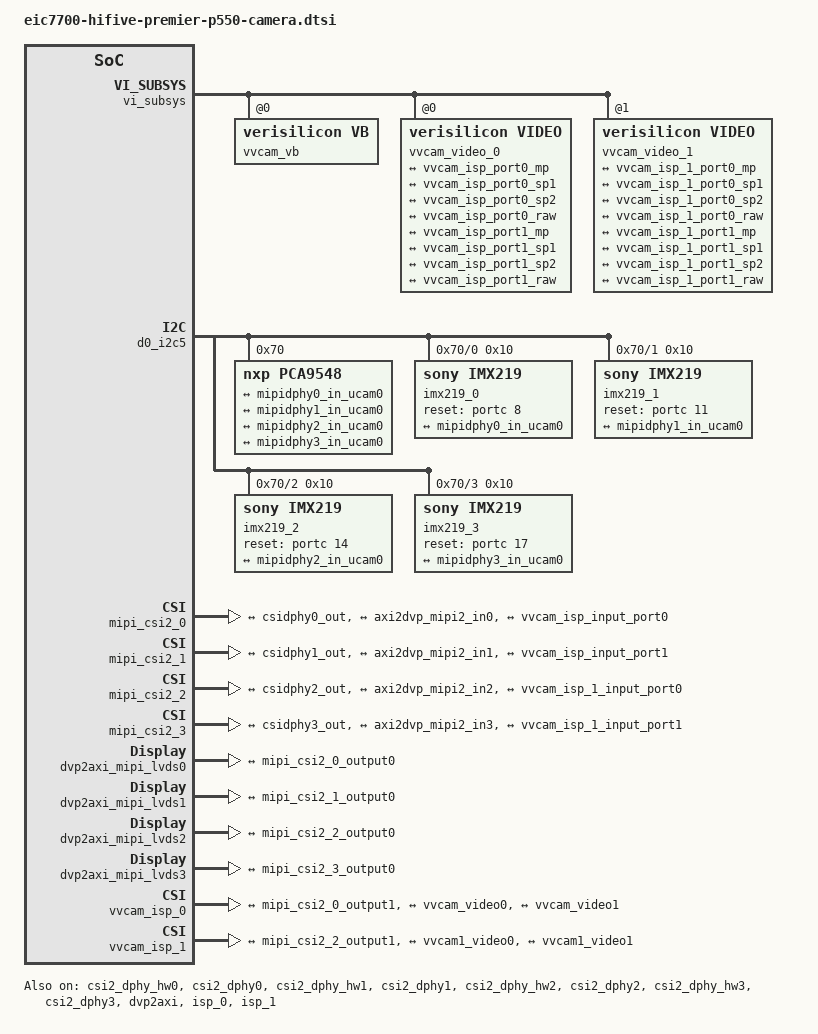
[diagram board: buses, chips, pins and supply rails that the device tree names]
&vi_subsys {
	eswin,isp_dvp0_hor = <3280>;
	eswin,isp_dvp0_ver = <2464>;
	phy_mode = <5>; //5: 6x2lanes, 2: 3x4lanes
	isp_connect_mode = <2>;

	vvcam_vb: vvcam_vb@0 {
		compatible = "verisilicon,vb";
		status = "okay";
		#size-cells = <2>;
		dma-noncoherent;
		dma-ranges = <0x0 0x20000000 0x0 0x80000000 0x0 0x40000000>;
		iommus = <&smmu0 WIN2030_SID_ISP0>;
	};

    vvcam_video_0: vvcam_video@0 {
        compatible = "verisilicon,video";
        id = <0>;
        status = "okay";
		#size-cells = <2>;
		dma-noncoherent;
		dma-ranges = <0x0 0x20000000 0x0 0x80000000 0x0 0x40000000>;
		iommus = <&smmu0 WIN2030_SID_ISP0>;

        ports {
            #address-cells = <1>;
            #size-cells = <0>;

            port@0 {
                reg = <0>;
                vvcam_video0: endpoint {
                    remote-endpoint = <&vvcam_isp_port0_mp>;
                };
            };

            port@1 {
                reg = <1>;
                vvcam_video1: endpoint {
                    remote-endpoint = <&vvcam_isp_port0_sp1>;
                };
            };

            port@2 {
                reg = <2>;
                vvcam_video2: endpoint {
                    remote-endpoint = <&vvcam_isp_port0_sp2>;
                };
            };

            port@3 {
                reg = <3>;
                vvcam_video3: endpoint {
                    remote-endpoint = <&vvcam_isp_port0_raw>;
                };
            };
			port@4 {
				#address-cells = <1>;
				#size-cells = <0>;
				reg = <4>;
				vvcam_video4: endpoint@0 {
					reg = <0>;
					remote-endpoint = <&vvcam_isp_port1_mp>;
				};
			};

			port@5 {
				#address-cells = <1>;
				#size-cells = <0>;
				reg = <5>;
				vvcam_video5: endpoint@0 {
					reg = <0>;
					remote-endpoint = <&vvcam_isp_port1_sp1>;
				};
			};

			port@6 {
				#address-cells = <1>;
				#size-cells = <0>;
				reg = <6>;
				vvcam_video6: endpoint@0 {
					reg = <0>;
					remote-endpoint = <&vvcam_isp_port1_sp2>;
				};
			};

			port@7 {
				#address-cells = <1>;
				#size-cells = <0>;
				reg = <7>;
				vvcam_video7: endpoint@0 {
					reg = <0>;
					remote-endpoint = <&vvcam_isp_port1_raw>;
				};
			};
        };
    };

	vvcam_video_1: vvcam_video@1 {
		compatible = "verisilicon,video";
		id = <1>;
		status = "okay";
		#size-cells = <2>;
		dma-noncoherent;
		dma-ranges = <0x0 0x20000000 0x0 0x80000000 0x0 0x40000000>;
		iommus = <&smmu0 WIN2030_SID_ISP1>;
		ports {
			#address-cells = <1>;
			#size-cells = <0>;

			port@0 {
				#address-cells = <1>;
				#size-cells = <0>;
				reg = <0>;
				vvcam1_video0: endpoint@0 {
					reg = <0>;
					remote-endpoint = <&vvcam_isp_1_port0_mp>;
				};
			};

			port@1 {
				#address-cells = <1>;
				#size-cells = <0>;
				reg = <1>;
				vvcam1_video1: endpoint@0 {
					reg = <0>;
					remote-endpoint = <&vvcam_isp_1_port0_sp1>;
				};
			};

			port@2 {
				#address-cells = <1>;
				#size-cells = <0>;
				reg = <2>;
				vvcam1_video2: endpoint@0 {
					reg = <0>;
					remote-endpoint = <&vvcam_isp_1_port0_sp2>;
				};
			};

			port@3 {
				#address-cells = <1>;
				#size-cells = <0>;
				reg = <3>;
				vvcam1_video3: endpoint@0 {
					reg = <0>;
					remote-endpoint = <&vvcam_isp_1_port0_raw>;
				};
			};
			port@4 {
				#address-cells = <1>;
				#size-cells = <0>;
				reg = <4>;
				vvcam1_video4: endpoint@0 {
					reg = <0>;
					remote-endpoint = <&vvcam_isp_1_port1_mp>;
				};
			};

			port@5 {
				#address-cells = <1>;
				#size-cells = <0>;
				reg = <5>;
				vvcam1_video5: endpoint@0 {
					reg = <0>;
					remote-endpoint = <&vvcam_isp_1_port1_sp1>;
				};
			};

			port@6 {
				#address-cells = <1>;
				#size-cells = <0>;
				reg = <6>;
				vvcam1_video6: endpoint@0 {
					reg = <0>;
					remote-endpoint = <&vvcam_isp_1_port1_sp2>;
				};
			};

			port@7 {
				#address-cells = <1>;
				#size-cells = <0>;
				reg = <7>;
				vvcam1_video7: endpoint@0 {
					reg = <0>;
					remote-endpoint = <&vvcam_isp_1_port1_raw>;
				};
			};
		};
	};
};

&d0_i2c5 {
	status = "okay";
	/* i2c-sda-hold-time-ns = <1000>; */
	/* clock-frequency = <0x186a0>; */

	pca9548:i2c-mux@70 {
		/*compatible = "ti,tca9548"; */
		compatible = "nxp,pca9548";
		#address-cells = <1>;
		#size-cells = <0>;
		reg = <0x70>;

		i2c@0 {
			#address-cells = <1>;
			#size-cells = <0>;
			reg = <0x0>;

			imx219_0: imx219_0@10 {
				status = "okay";
				compatible = "sony,imx219";
				reg = <0x10>;

				clocks = <&d0_clock EIC7700_CLK_VI_SHUTTER_0>;
				assigned-clocks = <&d0_clock EIC7700_CLK_VI_SHUTTER_0>;
				assigned-clock-rates = <24000000>;
				clock-names = "xvclk";
				pinctrl-names = "default";
				pinctrl-0 = <&pinctrl_gpio72_default>;
				reset-gpio = <&portc 8 GPIO_ACTIVE_HIGH>;
				power-domains = <&d0_pmu EIC770X_PD_VI>;

				port {
					imx219_out0: endpoint {
						remote-endpoint = <&mipidphy0_in_ucam0>;
						data-lanes = <1 2>;
						link-frequencies = /bits/ 64 <456000000>;
					};
				};
			};
		};

		i2c@1 {
			#address-cells = <1>;
			#size-cells = <0>;
			reg = <0x1>;

			imx219_1: imx219_1@10 {
				status = "okay";
				compatible = "sony,imx219";
				reg = <0x10>;

				clocks = <&d0_clock EIC7700_CLK_VI_SHUTTER_0>;
				assigned-clocks = <&d0_clock EIC7700_CLK_VI_SHUTTER_0>;
				assigned-clock-rates = <24000000>;
				clock-names = "xvclk";
				pinctrl-names = "default";
				pinctrl-0 = <&pinctrl_gpio75_default>;
				reset-gpio = <&portc 11 GPIO_ACTIVE_HIGH>;
				power-domains = <&d0_pmu EIC770X_PD_VI>;

				port {
					imx219_out1: endpoint {
						remote-endpoint = <&mipidphy1_in_ucam0>;
						data-lanes = <1 2>;
						link-frequencies = /bits/ 64 <456000000>;
					};
				};
			};
		};

		i2c@2 {
			#address-cells = <1>;
			#size-cells = <0>;
			reg = <0x2>;

			imx219_2: imx219_2@10 {
				status = "okay";
				compatible = "sony,imx219";
				reg = <0x10>;

				clocks = <&d0_clock EIC7700_CLK_VI_SHUTTER_0>;
				assigned-clocks = <&d0_clock EIC7700_CLK_VI_SHUTTER_0>;
				assigned-clock-rates = <24000000>;
				clock-names = "xvclk";
				pinctrl-names = "default";
				pinctrl-0 = <&pinctrl_gpio78_default>;
				reset-gpio = <&portc 14 GPIO_ACTIVE_HIGH>;
				power-domains = <&d0_pmu EIC770X_PD_VI>;

				port {
					imx219_out2: endpoint {
						remote-endpoint = <&mipidphy2_in_ucam0>;
						data-lanes = <1 2>;
						link-frequencies = /bits/ 64 <456000000>;
					};
				};
			};
		};

		i2c@3 {
			#address-cells = <1>;
			#size-cells = <0>;
			reg = <0x3>;

			imx219_3: imx219_3@10 {
				status = "okay";
				compatible = "sony,imx219";
				reg = <0x10>;

				clocks = <&d0_clock EIC7700_CLK_VI_SHUTTER_0>;
				assigned-clocks = <&d0_clock EIC7700_CLK_VI_SHUTTER_0>;
				assigned-clock-rates = <24000000>;
				clock-names = "xvclk";
				pinctrl-names = "default";
				pinctrl-0 = <&pinctrl_gpio81_default>;
				reset-gpio = <&portc 17 GPIO_ACTIVE_HIGH>;
				power-domains = <&d0_pmu EIC770X_PD_VI>;

				port {
					imx219_out3: endpoint {
						remote-endpoint = <&mipidphy3_in_ucam0>;
						data-lanes = <1 2>;
						link-frequencies = /bits/ 64 <456000000>;
					};
				};
			};
		};
	};
};

&csi2_dphy_hw0 {
	lanes = <1 2>;
	lanes-dp-dn = <0 0>; 	// 4lanes: positive on dp/ negative on dn to hs and lp mode
	status = "okay";
};

&csi2_dphy0 {
	status = "okay";
	ports {
		#address-cells = <1>;
		#size-cells = <0>;

		port@0 {
			reg = <0>;
			#address-cells = <1>;
			#size-cells = <0>;

			mipidphy0_in_ucam0: endpoint@0 {
				reg = <0>;
				remote-endpoint = <&imx219_out0>;
				data-lanes = <1 2>;
			};
		};

		port@1 {
			reg = <1>;
			#address-cells = <1>;
			#size-cells = <0>;

			csidphy0_out: endpoint@1 {
				reg = <1>;
				remote-endpoint = <&mipi_csi2_0_input>;
			};
		};
	};
};

&csi2_dphy_hw1 {
	lanes = <1 2>;
	lanes-dp-dn = <0 0>; 	// 4lanes: positive on dp/ negative on dn to hs and lp mode
	status = "okay";
};

&csi2_dphy1 {
	status = "okay";
	ports {
		#address-cells = <1>;
		#size-cells = <0>;

		port@0 {
			reg = <0>;
			#address-cells = <1>;
			#size-cells = <0>;

			mipidphy1_in_ucam0: endpoint@0 {
				reg = <0>;
				remote-endpoint = <&imx219_out1>;
				data-lanes = <1 2>;
			};
		};

		port@1 {
			reg = <1>;
			#address-cells = <1>;
			#size-cells = <0>;

			csidphy1_out: endpoint@1 {
				reg = <1>;
				remote-endpoint = <&mipi_csi2_1_input>;
			};
		};
	};
};

&csi2_dphy_hw2 {
	lanes = <1 2>;
	lanes-dp-dn = <0 0>; 	// 4lanes: positive on dp/ negative on dn to hs and lp mode
	status = "okay";
};
&csi2_dphy2 {
	status = "okay";
	ports {
		#address-cells = <1>;
		#size-cells = <0>;

		port@0 {
			reg = <0>;
			#address-cells = <1>;
			#size-cells = <0>;

			mipidphy2_in_ucam0: endpoint@0 {
				reg = <0>;
				remote-endpoint = <&imx219_out2>;
				data-lanes = <1 2>;
			};
		};

		port@1 {
			reg = <1>;
			#address-cells = <1>;
			#size-cells = <0>;

			csidphy2_out: endpoint@1 {
				reg = <1>;
				remote-endpoint = <&mipi_csi2_2_input>;
			};
		};
	};
};

&csi2_dphy_hw3 {
	lanes = <1 2>;
	lanes-dp-dn = <0 0>; 	// 4lanes: positive on dp/ negative on dn to hs and lp mode
	status = "okay";
};
&csi2_dphy3 {
	status = "okay";
	ports {
		#address-cells = <1>;
		#size-cells = <0>;

		port@0 {
			reg = <0>;
			#address-cells = <1>;
			#size-cells = <0>;

			mipidphy3_in_ucam0: endpoint@0 {
				reg = <0>;
				remote-endpoint = <&imx219_out3>;
				data-lanes = <1 2>;
			};
		};

		port@1 {
			reg = <1>;
			#address-cells = <1>;
			#size-cells = <0>;

			csidphy3_out: endpoint@1 {
				reg = <1>;
				remote-endpoint = <&mipi_csi2_3_input>;
			};
		};
	};
};

&mipi_csi2_0 {
	num_lanes = <2>;
	snps,en-ppi-width = <1>; // 1: 16-bit, 0: 8-bit
	status = "okay";
	ports {
		#address-cells = <1>;
		#size-cells = <0>;

		port@0 {
			reg = <0>;
			#address-cells = <1>;
			#size-cells = <0>;

			mipi_csi2_0_input: endpoint@0 {
				remote-endpoint = <&csidphy0_out>;
			};
		};

		port@1 {
			reg = <1>;
			#address-cells = <1>;
			#size-cells = <0>;

			mipi_csi2_0_output0: endpoint@1 {
				remote-endpoint = <&axi2dvp_mipi2_in0>;
			};
		};

		port@2 {
			reg = <2>;
			#address-cells = <1>;
			#size-cells = <0>;

			mipi_csi2_0_output1: endpoint {
				remote-endpoint = <&vvcam_isp_input_port0>;
			};
		};
	};
};

&mipi_csi2_1 {
	num_lanes = <2>;
	snps,en-ppi-width = <1>; // 1: 16-bit, 0: 8-bit
	status = "okay";
	ports {
		#address-cells = <1>;
		#size-cells = <0>;

		port@0 {
			reg = <0>;
			#address-cells = <1>;
			#size-cells = <0>;

			mipi_csi2_1_input: endpoint@0 {
				remote-endpoint = <&csidphy1_out>;
			};
		};

		port@1 {
			reg = <1>;
			#address-cells = <1>;
			#size-cells = <0>;

			mipi_csi2_1_output0: endpoint@1 {
				remote-endpoint = <&axi2dvp_mipi2_in1>;
			};
		};

		port@2 {
			reg = <2>;
			#address-cells = <1>;
			#size-cells = <0>;

			mipi_csi2_1_output1: endpoint {
				remote-endpoint = <&vvcam_isp_input_port1>;
			};
		};
	};
};

&mipi_csi2_2 {
	num_lanes = <2>;
	snps,en-ppi-width = <1>; // 1: 16-bit, 0: 8-bit
	status = "okay";
	ports {
		#address-cells = <1>;
		#size-cells = <0>;

		port@0 {
			reg = <0>;
			#address-cells = <1>;
			#size-cells = <0>;

			mipi_csi2_2_input: endpoint@0 {
				remote-endpoint = <&csidphy2_out>;
			};
		};

		port@1 {
			reg = <1>;
			#address-cells = <1>;
			#size-cells = <0>;

			mipi_csi2_2_output0: endpoint@1 {
				remote-endpoint = <&axi2dvp_mipi2_in2>;
			};
		};

		port@2 {
			reg = <2>;
			#address-cells = <1>;
			#size-cells = <0>;

			mipi_csi2_2_output1: endpoint {
				remote-endpoint = <&vvcam_isp_1_input_port0>;
			};
		};
	};
};

&mipi_csi2_3 {
	num_lanes = <2>;
	snps,en-ppi-width = <1>; // 1: 16-bit, 0: 8-bit
	status = "okay";
	ports {
		#address-cells = <1>;
		#size-cells = <0>;

		port@0 {
			reg = <0>;
			#address-cells = <1>;
			#size-cells = <0>;

			mipi_csi2_3_input: endpoint@0 {
				remote-endpoint = <&csidphy3_out>;
			};
		};

		port@1 {
			reg = <1>;
			#address-cells = <1>;
			#size-cells = <0>;

			mipi_csi2_3_output0: endpoint@1 {
				remote-endpoint = <&axi2dvp_mipi2_in3>;
			};
		};

		port@2 {
			reg = <2>;
			#address-cells = <1>;
			#size-cells = <0>;

			mipi_csi2_3_output1: endpoint {
				remote-endpoint = <&vvcam_isp_1_input_port1>;
			};
		};
	};
};

&dvp2axi {
	status = "okay";
};

&dvp2axi_mipi_lvds0 {
	status = "okay";
	dvp2axi_id = <0>;
	port@0 {
		axi2dvp_mipi2_in0: endpoint@0 {
			remote-endpoint = <&mipi_csi2_0_output0>;
		};
	};
};

&dvp2axi_mipi_lvds1 {
	status = "okay";
	dvp2axi_id = <1>;

	port@0 {
		axi2dvp_mipi2_in1: endpoint@0 {
			remote-endpoint = <&mipi_csi2_1_output0>;
		};
	};
};

&dvp2axi_mipi_lvds2 {
	status = "okay";
	dvp2axi_id = <2>;

	port@0 {
		axi2dvp_mipi2_in2: endpoint@0 {
			remote-endpoint = <&mipi_csi2_2_output0>;
		};
	};
};

&dvp2axi_mipi_lvds3 {
	status = "okay";
	dvp2axi_id = <3>;

	port@0 {
		axi2dvp_mipi2_in3: endpoint@0 {
			remote-endpoint = <&mipi_csi2_3_output0>;
		};
	};
};

&vvcam_isp_0 {
	status = "okay";

	ports {
		#address-cells = <1>;
		#size-cells = <0>;

		port@0 {
			#address-cells = <1>;
			#size-cells = <0>;
			reg = <0>;
			vvcam_isp_input_port0: endpoint@0 {
				remote-endpoint = <&mipi_csi2_0_output1>;
			};
		};

		port@1 {
			reg = <1>;
			vvcam_isp_port0_mp: endpoint {
				remote-endpoint = <&vvcam_video0>;
			};
		};

		port@2 {
			reg = <2>;
			vvcam_isp_port0_sp1: endpoint {
				remote-endpoint = <&vvcam_video1>;
			};
		};

		port@3 {
			reg = <3>;
			vvcam_isp_port0_sp2: endpoint {
				remote-endpoint = <&vvcam_video2>;
			};
		};

		port@4 {
			reg = <4>;
			vvcam_isp_port0_raw: endpoint {
				remote-endpoint = <&vvcam_video3>;
			};
		};

		port@5 {
			#address-cells = <1>;
			#size-cells = <0>;
			reg = <5>;
			vvcam_isp_input_port1: endpoint@0 {
				reg = <0>;
				remote-endpoint = <&mipi_csi2_1_output1>;
			};
		};

		port@6 {
			#address-cells = <1>;
			#size-cells = <0>;
			reg = <6>;
			vvcam_isp_port1_mp: endpoint {
				remote-endpoint = <&vvcam_video4>;
			};
		};

		port@7 {
			#address-cells = <1>;
			#size-cells = <0>;
			reg = <7>;
			vvcam_isp_port1_sp1: endpoint {
				remote-endpoint = <&vvcam_video5>;
			};
		};

		port@8 {
			#address-cells = <1>;
			#size-cells = <0>;
			reg = <8>;
			vvcam_isp_port1_sp2: endpoint {
				remote-endpoint = <&vvcam_video6>;
			};
		};

		port@9 {
			#address-cells = <1>;
			#size-cells = <0>;
			reg = <9>;
			vvcam_isp_port1_raw: endpoint {
				remote-endpoint = <&vvcam_video7>;
			};
		};
	};
};

&vvcam_isp_1 {
	ports {
		#address-cells = <1>;
		#size-cells = <0>;

		port@0 {
			#address-cells = <1>;
			#size-cells = <0>;
			reg = <0>;
			vvcam_isp_1_input_port0: endpoint@0 {
				reg = <0>;
				remote-endpoint = <&mipi_csi2_2_output1>;
			};
		};

		port@1 {
			#address-cells = <1>;
			#size-cells = <0>;
			reg = <1>;
			vvcam_isp_1_port0_mp: endpoint {
				remote-endpoint = <&vvcam1_video0>;
			};
		};

		port@2 {
			#address-cells = <1>;
			#size-cells = <0>;
			reg = <2>;
			vvcam_isp_1_port0_sp1: endpoint {
				remote-endpoint = <&vvcam1_video1>;
			};
		};

		port@3 {
			#address-cells = <1>;
			#size-cells = <0>;
			reg = <3>;
			vvcam_isp_1_port0_sp2: endpoint {
				remote-endpoint = <&vvcam1_video2>;
			};
		};

		port@4 {
			#address-cells = <1>;
			#size-cells = <0>;
			reg = <4>;
			vvcam_isp_1_port0_raw: endpoint {
				remote-endpoint = <&vvcam1_video3>;
			};
		};
		port@5 {
			#address-cells = <1>;
			#size-cells = <0>;
			reg = <5>;
			vvcam_isp_1_input_port1: endpoint@0 {
				reg = <0>;
				remote-endpoint = <&mipi_csi2_3_output1>;
			};
		};

		port@6 {
			#address-cells = <1>;
			#size-cells = <0>;
			reg = <6>;
			vvcam_isp_1_port1_mp: endpoint {
				remote-endpoint = <&vvcam1_video4>;
			};
		};

		port@7 {
			#address-cells = <1>;
			#size-cells = <0>;
			reg = <7>;
			vvcam_isp_1_port1_sp1: endpoint {
				remote-endpoint = <&vvcam1_video5>;
			};
		};

		port@8 {
			#address-cells = <1>;
			#size-cells = <0>;
			reg = <8>;
			vvcam_isp_1_port1_sp2: endpoint {
				remote-endpoint = <&vvcam1_video6>;
			};
		};

		port@9 {
			#address-cells = <1>;
			#size-cells = <0>;
			reg = <9>;
			vvcam_isp_1_port1_raw: endpoint {
				remote-endpoint = <&vvcam1_video7>;
			};
		};
	};
};

&isp_0 {
	status = "okay";
};

&isp_1 {
	status = "okay";
};
